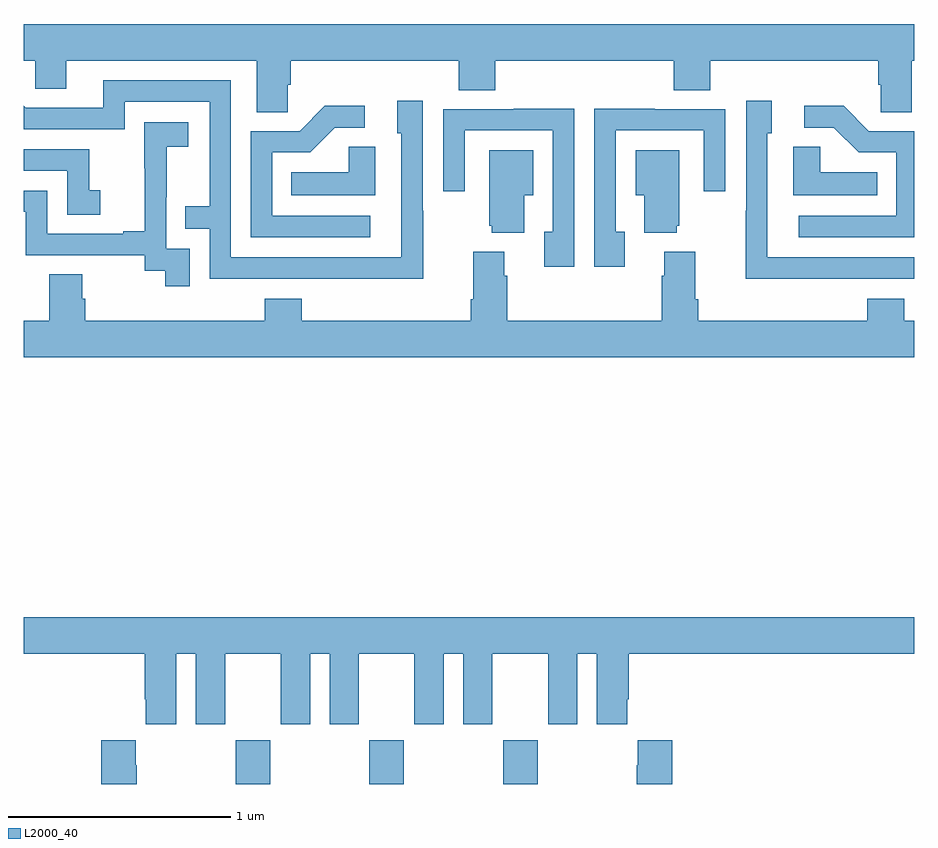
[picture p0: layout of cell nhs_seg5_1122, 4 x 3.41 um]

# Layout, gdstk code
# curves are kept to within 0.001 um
import gdstk
lib = gdstk.Library(unit=1e-6, precision=1e-09)
def R(c, l, rs):  # rectangles x0, y0, x1, y1
    for r in rs: c.add(gdstk.rectangle(r[:2], r[2:], *l))
def A(c, l, x, y, w, h, nx, ny, dx, dy):  # array of equal rectangles
    R(c, l, [(x+i*dx, y+j*dy, x+i*dx+w, y+j*dy+h) for i in range(nx) for j in range(ny)])
def P(c, l, *ps):  # polygons
    for p in ps: c.add(gdstk.Polygon(p, *l))
L2000_40 = (2000, 40)

nhs_seg5_1122 = lib.new_cell('nhs_seg5_1122')
A(nhs_seg5_1122, L2000_40, 179.953, 898.799, 0.155, 0.197, 3, 1, 0.6, 0)
P(nhs_seg5_1122, L2000_40, [(180.186,901.939),(180.2,901.939),(180.2,902.048),(180.953,902.048),(180.953,901.915),(181.118,901.915),(181.118,902.048),(181.919,902.048),(181.919,901.915),(182.084,901.915),(182.084,902.048),(182.837,902.048),(182.837,901.939),(182.85,901.939),(182.85,901.816),(182.989,901.816),(182.989,902.048),(183,902.048),(183,902.212),(179,902.212),(179,902.048),(179.052,902.048),(179.052,901.921),(179.191,901.921),(179.191,902.048),(180.047,902.048),(180.047,901.816),(180.186,901.816)],
  [(180.795,901.373),(180.792,901.373),(180.792,901.867),(180.677,901.867),(180.677,901.722),(180.696,901.722),(180.696,901.164),(179.931,901.164),(179.931,901.959),(179.357,901.959),(179.357,901.836),(179.01,901.836),(179,901.846),(179,901.74),(179.454,901.74),(179.454,901.863),(179.835,901.863),(179.835,901.394),(179.725,901.394),(179.725,901.293),(179.835,901.293),(179.835,901.068),(180.795,901.067)],
  [(182.705,901.068),(183,901.068),(183,901.164),(182.34,901.164),(182.34,901.722),(182.359,901.722),(182.359,901.867),(182.244,901.867),(182.244,901.373),(182.242,901.373),(182.242,901.067),(182.705,901.067)],
  [(180.556,901.35),(180.117,901.35),(180.117,901.635),(180.286,901.635),(180.397,901.746),(180.532,901.746),(180.532,901.844),(180.353,901.844),(180.24,901.731),(180.021,901.731),(180.021,901.254),(180.556,901.254)],
  [(183,901.731),(182.796,901.731),(182.683,901.844),(182.505,901.844),(182.505,901.746),(182.639,901.746),(182.75,901.635),(182.919,901.635),(182.919,901.35),(182.481,901.35),(182.481,901.254),(183,901.254)],
  [(181.699,901.278),(181.659,901.278),(181.659,901.734),(182.055,901.734),(182.055,901.461),(182.151,901.461),(182.151,901.83),(181.835,901.83),(181.835,901.832),(181.563,901.832),(181.563,901.122),(181.699,901.122)],
  [(181.473,901.832),(181.201,901.832),(181.201,901.83),(180.885,901.83),(180.885,901.461),(180.981,901.461),(180.981,901.734),(181.377,901.734),(181.377,901.278),(181.337,901.278),(181.337,901.122),(181.473,901.122)],
  [(179.745,901.203),(179.64,901.203),(179.64,901.433),(179.642,901.433),(179.642,901.661),(179.74,901.661),(179.74,901.771),(179.542,901.771),(179.542,901.565),(179.543,901.565),(179.543,901.282),(179.447,901.282),(179.447,901.269),(179.106,901.269),(179.106,901.464),(179,901.464),(179,901.368),(179.01,901.368),(179.01,901.173),(179.544,901.173),(179.544,901.105),(179.637,901.105),(179.637,901.035),(179.745,901.035)],
  [(182.834,901.546),(182.577,901.546),(182.577,901.661),(182.456,901.661),(182.456,901.442),(182.834,901.442)],
  [(180.58,901.661),(180.459,901.661),(180.459,901.546),(180.202,901.546),(180.202,901.442),(180.58,901.442)],
  [(179.344,901.465),(179.295,901.465),(179.295,901.65),(179,901.65),(179,901.554),(179.196,901.554),(179.196,901.356),(179.344,901.356)],
  [(181.934,901.305),(181.945,901.305),(181.945,901.645),(181.748,901.645),(181.748,901.442),(181.787,901.442),(181.787,901.274),(181.934,901.274)],
  [(181.249,901.442),(181.288,901.442),(181.288,901.645),(181.091,901.645),(181.091,901.305),(181.103,901.305),(181.103,901.274),(181.249,901.274)],
  [(183,900.88),(182.954,900.88),(182.954,900.979),(182.789,900.979),(182.789,900.88),(182.03,900.88),(182.03,900.976),(182.017,900.976),(182.017,901.189),(181.877,901.189),(181.877,901.082),(181.865,901.082),(181.865,900.88),(181.172,900.88),(181.172,901.082),(181.159,901.082),(181.159,901.189),(181.019,901.189),(181.019,900.976),(181.007,900.976),(181.007,900.88),(180.248,900.88),(180.248,900.979),(180.083,900.979),(180.083,900.88),(179.276,900.88),(179.276,900.978),(179.263,900.978),(179.263,901.088),(179.116,901.088),(179.116,900.88),(179,900.88),(179,900.716),(183,900.716)],
  [(179,899.384),(179.543,899.384),(179.543,899.179),(179.549,899.179),(179.549,899.067),(179.686,899.067),(179.686,899.384),(179.774,899.384),(179.774,899.067),(179.905,899.067),(179.905,899.384),(180.155,899.384),(180.155,899.067),(180.286,899.067),(180.286,899.384),(180.374,899.384),(180.374,899.067),(180.505,899.067),(180.505,899.384),(180.755,899.384),(180.755,899.067),(180.886,899.067),(180.886,899.384),(180.974,899.384),(180.974,899.067),(181.105,899.067),(181.105,899.384),(181.355,899.384),(181.355,899.067),(181.486,899.067),(181.486,899.384),(181.574,899.384),(181.574,899.067),(181.711,899.067),(181.711,899.179),(181.718,899.179),(181.718,899.384),(183,899.384),(183,899.548),(179,899.548)],
  [(181.913,898.996),(181.757,898.996),(181.757,898.883),(181.753,898.883),(181.753,898.799),(181.913,898.799)],
  [(179.508,898.883),(179.503,898.883),(179.503,898.996),(179.348,898.996),(179.348,898.799),(179.508,898.799)])

lib.write_gds('nhs_seg5_1122.gds')
